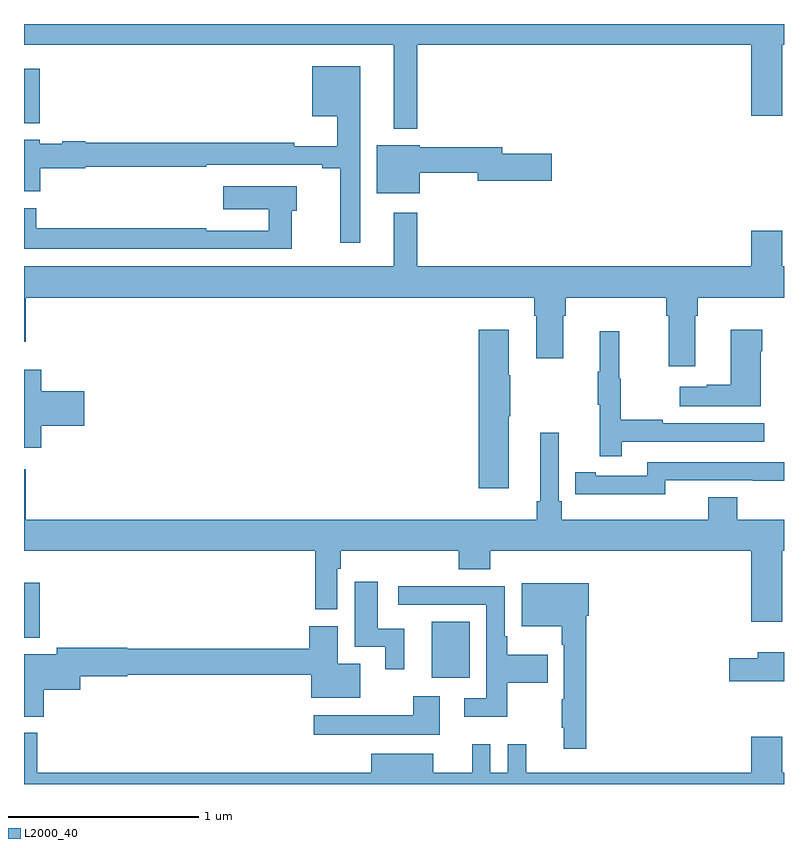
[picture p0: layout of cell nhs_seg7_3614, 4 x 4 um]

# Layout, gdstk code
import gdstk
lib = gdstk.Library(unit=1e-6, precision=1e-09)
def R(c, l, rs):  # rectangles x0, y0, x1, y1
    for r in rs: c.add(gdstk.rectangle(r[:2], r[2:], *l))
def P(c, l, *ps):  # polygons
    for p in ps: c.add(gdstk.Polygon(p, *l))
L2000_40 = (2000, 40)

nhs_seg7_3614 = lib.new_cell('nhs_seg7_3614')
R(nhs_seg7_3614, L2000_40, [(343.145,1054.559,343.345,1054.855), (341,1054.769,341.084,1055.059), (341,1057.478,341.084,1057.765)])
P(nhs_seg7_3614, L2000_40, [(343.069,1057.892),(344.828,1057.892),(344.828,1057.518),(344.992,1057.518),(344.992,1057.892),(345,1057.892),(345,1058),(341,1058),(341,1057.892),(342.947,1057.892),(342.947,1057.448),(343.069,1057.448)],
  [(342.769,1057.777),(342.518,1057.777),(342.518,1057.514),(342.648,1057.514),(342.648,1057.357),(342.422,1057.357),(342.422,1057.376),(341.322,1057.376),(341.322,1057.384),(341.202,1057.384),(341.202,1057.369),(341.082,1057.369),(341.082,1057.39),(341,1057.39),(341,1057.121),(341.086,1057.121),(341.086,1057.24),(341.322,1057.24),(341.322,1057.248),(341.96,1057.248),(341.96,1057.26),(342.569,1057.26),(342.569,1057.24),(342.665,1057.24),(342.665,1056.849),(342.769,1056.849)],
  [(343.084,1057.216),(343.388,1057.216),(343.388,1057.174),(343.777,1057.174),(343.777,1057.316),(343.516,1057.316),(343.516,1057.352),(343.084,1057.352),(343.084,1057.363),(342.857,1057.363),(342.857,1057.109),(343.084,1057.109)],
  [(342.41,1057.018),(342.436,1057.018),(342.436,1057.147),(342.048,1057.147),(342.048,1057.025),(342.289,1057.025),(342.289,1056.912),(341.96,1056.912),(341.96,1056.925),(341.065,1056.925),(341.065,1057.03),(341,1057.03),(341,1056.816),(342.41,1056.816)],
  [(344.533,1056.464),(344.546,1056.464),(344.546,1056.56),(345,1056.56),(345,1056.724),(344.992,1056.724),(344.992,1056.913),(344.828,1056.913),(344.828,1056.724),(343.069,1056.724),(343.069,1057.006),(342.947,1057.006),(342.947,1056.724),(341,1056.724),(341,1056.327),(341.009,1056.327),(341.009,1056.56),(343.685,1056.56),(343.685,1056.464),(343.697,1056.464),(343.697,1056.24),(343.837,1056.24),(343.837,1056.464),(343.85,1056.464),(343.85,1056.56),(344.381,1056.56),(344.381,1056.464),(344.393,1056.464),(344.393,1056.198),(344.533,1056.198)],
  [(343.552,1055.935),(343.56,1055.935),(343.56,1056.152),(343.552,1056.152),(343.552,1056.391),(343.394,1056.391),(343.394,1055.556),(343.552,1055.556)],
  [(344.878,1056.278),(344.886,1056.278),(344.886,1056.391),(344.72,1056.391),(344.72,1056.101),(344.594,1056.101),(344.594,1056.091),(344.451,1056.091),(344.451,1055.987),(344.878,1055.987)],
  [(344.147,1055.802),(344.896,1055.802),(344.896,1055.898),(344.363,1055.898),(344.363,1055.918),(344.14,1055.918),(344.14,1056.132),(344.132,1056.132),(344.132,1056.382),(344.03,1056.382),(344.03,1056.169),(344.019,1056.169),(344.019,1055.995),(344.03,1055.995),(344.03,1055.724),(344.147,1055.724)],
  [(341.092,1055.885),(341.317,1055.885),(341.317,1056.068),(341.092,1056.068),(341.092,1056.181),(341,1056.181),(341,1055.771),(341.092,1055.771)],
  [(344.992,1055.228),(345,1055.228),(345,1055.392),(344.753,1055.392),(344.753,1055.509),(344.6,1055.509),(344.6,1055.392),(343.829,1055.392),(343.829,1055.488),(343.815,1055.488),(343.815,1055.848),(343.718,1055.848),(343.718,1055.488),(343.699,1055.488),(343.699,1055.392),(341.009,1055.392),(341.009,1055.656),(341,1055.656),(341,1055.228),(342.532,1055.228),(342.532,1054.92),(342.648,1054.92),(342.648,1055.132),(342.668,1055.132),(342.668,1055.228),(343.289,1055.228),(343.289,1055.129),(343.454,1055.129),(343.454,1055.228),(344.828,1055.228),(344.828,1054.854),(344.992,1054.854)],
  [(344.376,1055.598),(344.836,1055.598),(344.836,1055.597),(345,1055.597),(345,1055.694),(344.28,1055.694),(344.28,1055.622),(344.008,1055.622),(344.008,1055.642),(343.9,1055.642),(343.9,1055.526),(344.008,1055.526),(344.008,1055.525),(344.376,1055.525)],
  [(343,1054.818),(342.862,1054.818),(342.862,1055.065),(342.74,1055.065),(342.74,1054.722),(342.902,1054.722),(342.902,1054.605),(343,1054.605)],
  [(343.958,1054.886),(343.972,1054.886),(343.972,1055.056),(343.619,1055.056),(343.619,1054.829),(343.83,1054.829),(343.83,1054.733),(343.842,1054.733),(343.842,1054.445),(343.83,1054.445),(343.83,1054.297),(343.841,1054.297),(343.841,1054.185),(343.958,1054.185)],
  [(343.543,1054.534),(343.757,1054.534),(343.757,1054.681),(343.543,1054.681),(343.543,1054.777),(343.53,1054.777),(343.53,1055.04),(343.205,1055.04),(343.205,1055.042),(342.969,1055.042),(342.969,1054.944),(343.434,1054.944),(343.434,1054.452),(343.317,1054.452),(343.317,1054.355),(343.543,1054.355)],
  [(341.105,1054.496),(341.296,1054.496),(341.296,1054.568),(341.544,1054.568),(341.544,1054.576),(342.512,1054.576),(342.512,1054.454),(342.769,1054.454),(342.769,1054.633),(342.652,1054.633),(342.652,1054.831),(342.5,1054.831),(342.5,1054.712),(341.544,1054.712),(341.544,1054.718),(341.172,1054.718),(341.172,1054.684),(341,1054.684),(341,1054.355),(341.105,1054.355)],
  [(345,1054.693),(344.861,1054.693),(344.861,1054.663),(344.712,1054.663),(344.712,1054.541),(345,1054.541)],
  [(343.189,1054.462),(343.049,1054.462),(343.049,1054.363),(342.525,1054.363),(342.525,1054.259),(343.189,1054.259)],
  [(345,1054.06),(344.992,1054.06),(344.992,1054.249),(344.828,1054.249),(344.828,1054.06),(343.643,1054.06),(343.643,1054.21),(343.545,1054.21),(343.545,1054.06),(343.455,1054.06),(343.455,1054.21),(343.358,1054.21),(343.358,1054.06),(343.153,1054.06),(343.153,1054.159),(342.827,1054.159),(342.827,1054.06),(341.069,1054.06),(341.069,1054.27),(341,1054.27),(341,1054),(345,1054)])

lib.write_gds('nhs_seg7_3614.gds')
